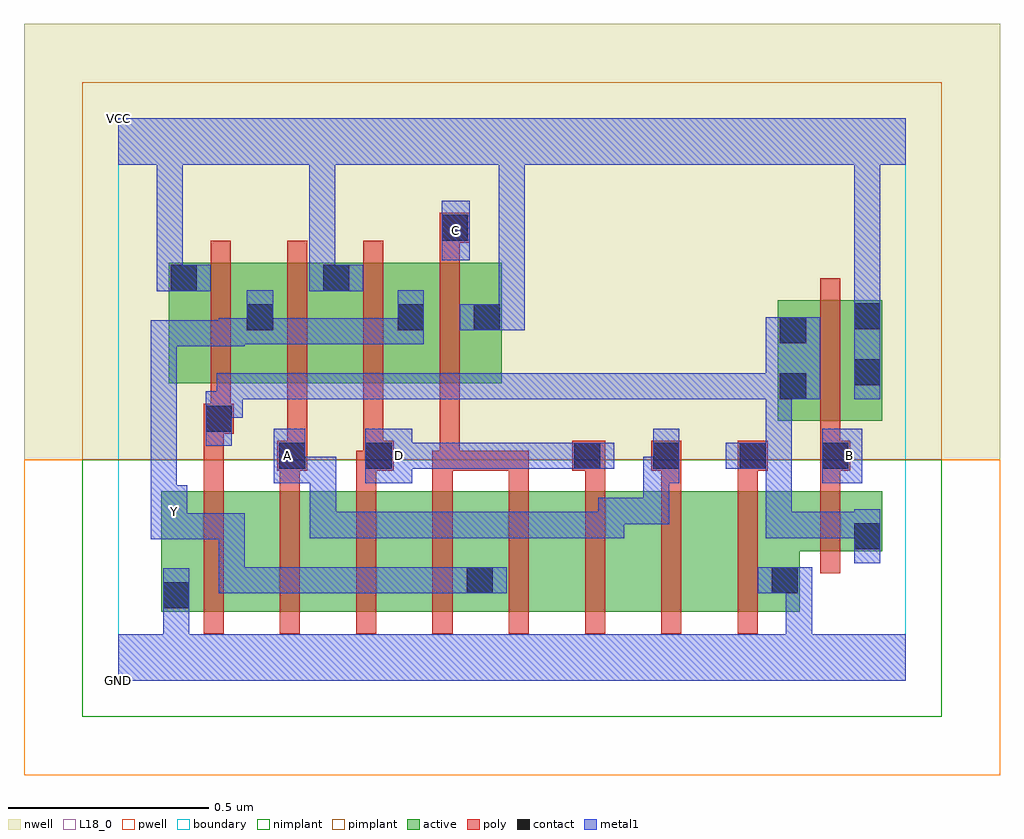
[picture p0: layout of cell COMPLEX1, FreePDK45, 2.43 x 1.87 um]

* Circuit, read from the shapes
.subckt COMPLEX1 A B C D GND VCC Y
M1 n1 n2 GND VSUBS nfet w=0.3u l=0.05u
M2 n3 A n1 VSUBS nfet w=0.3u l=0.05u
M3 n4 D n3 VSUBS nfet w=0.3u l=0.05u
M4 Y C n4 VSUBS nfet w=0.3u l=0.05u
M5 n5 C Y VSUBS nfet w=0.3u l=0.05u
M6 n6 D n5 VSUBS nfet w=0.3u l=0.05u
M7 n7 A n6 VSUBS nfet w=0.3u l=0.05u
M8 GND n2 n7 VSUBS nfet w=0.3u l=0.05u
M9 n2 B GND VSUBS nfet w=0.15u l=0.05u
M10 Y n2 VCC n8 pfet w=0.3u l=0.05u
M11 VCC A Y n8 pfet w=0.3u l=0.05u
M12 Y D VCC n8 pfet w=0.3u l=0.05u
M13 VCC C Y n8 pfet w=0.3u l=0.05u
M14 VCC B n2 n8 pfet w=0.3u l=0.05u
.ends

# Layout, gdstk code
import gdstk
lib = gdstk.Library(unit=1e-6, precision=1e-09)
def R(c, l, rs):  # rectangles x0, y0, x1, y1
    for r in rs: c.add(gdstk.rectangle(r[:2], r[2:], *l))
def A(c, l, x, y, w, h, nx, ny, dx, dy):  # array of equal rectangles
    R(c, l, [(x+i*dx, y+j*dy, x+i*dx+w, y+j*dy+h) for i in range(nx) for j in range(ny)])
active = (1, 0)
pwell = (2, 0)
nwell = (3, 0)
nimplant = (4, 0)
pimplant = (5, 0)
poly = (9, 0)
contact = (10, 0)
metal1 = (11, 0)
L18_0 = (18, 0)
boundary = (235, 0)

complex1 = lib.new_cell('COMPLEX1')
R(complex1, active, [(0.107,0.172,0.332,0.472), (0.107,0.172,0.182,0.472), (0.332,0.172,0.522,0.472), (0.522,0.172,0.712,0.472), (0.712,0.172,0.937,0.472), (0.862,0.172,1.092,0.472), (1.092,0.172,1.282,0.472), (1.282,0.172,1.472,0.472), (1.472,0.172,1.697,0.472), (1.622,0.172,1.697,0.322), (0.862,0.195,0.937,0.392), (1.622,0.322,1.902,0.472), (1.827,0.322,1.902,0.472), (1.642,0.647,1.717,0.947), (1.642,0.647,1.902,0.947), (1.827,0.647,1.902,0.947), (0.125,0.74,0.2,1.04), (0.125,0.74,0.39,1.04), (0.315,0.74,0.39,1.04), (0.315,0.74,0.58,1.04), (0.505,0.74,0.765,1.04), (0.69,0.74,0.955,1.04), (0.88,0.74,0.955,0.942), (0.69,0.782,0.765,0.942), (0.505,0.905,0.58,1.04)])
R(complex1, pwell, [(-0.235,-0.235,2.195,0.55)])
R(complex1, nwell, [(-0.235,0.55,2.195,1.635)])
R(complex1, nimplant, [(-0.09,-0.09,2.05,0.55)])
R(complex1, pimplant, [(-0.09,0.55,2.05,1.49)])
A(complex1, poly, 0.212, 0.117, 0.05, 0.41, 8, 1, 0.19, 0)
A(complex1, poly, 0.402, 0.477, 0.05, 0.095, 7, 1, 0.19, 0)
A(complex1, poly, 0.23, 0.685, 0.05, 0.41, 4, 1, 0.19, 0)
R(complex1, poly, [(1.747,0.267,1.797,0.527), (0.212,0.477,0.262,0.665), (1.747,0.477,1.797,0.572), (0.395,0.522,0.47,0.597), (0.592,0.522,0.66,0.572), (0.61,0.522,0.66,0.572), (0.61,0.522,0.685,0.597), (0.782,0.522,0.85,0.572), (0.8,0.522,0.85,0.572), (0.8,0.522,0.85,0.572), (0.8,0.522,1.022,0.572), (0.8,0.522,0.85,0.735), (0.972,0.522,1.022,0.572), (0.972,0.522,1.022,0.572), (0.972,0.522,1.022,0.572), (1.13,0.522,1.212,0.597), (1.162,0.522,1.212,0.572), (1.162,0.522,1.212,0.572), (1.327,0.522,1.402,0.597), (1.542,0.522,1.617,0.597), (1.747,0.522,1.822,0.597), (0.42,0.547,0.47,0.597), (0.42,0.547,0.47,0.597), (0.42,0.547,0.47,0.735), (0.61,0.547,0.66,0.735), (1.747,0.547,1.797,0.642), (1.747,0.547,1.797,0.597), (1.747,0.547,1.797,0.597), (1.747,0.592,1.797,1.002), (0.212,0.615,0.262,0.665), (0.212,0.615,0.262,0.665), (0.212,0.615,0.287,0.69), (0.23,0.64,0.28,0.735), (0.8,1.045,0.85,1.14), (0.8,1.09,0.875,1.165)])
R(complex1, contact, [(0.112,0.18,0.177,0.245), (0.867,0.217,0.932,0.282), (1.627,0.217,1.692,0.282), (1.832,0.327,1.897,0.392), (0.4,0.527,0.465,0.592), (0.615,0.527,0.68,0.592), (1.135,0.527,1.2,0.592), (1.332,0.527,1.397,0.592), (1.547,0.527,1.612,0.592), (1.752,0.527,1.817,0.592), (0.217,0.62,0.282,0.685), (1.647,0.7,1.712,0.765), (1.832,0.735,1.897,0.8), (1.647,0.84,1.712,0.905), (0.32,0.872,0.385,0.937), (0.695,0.872,0.76,0.937), (0.885,0.872,0.95,0.937), (1.832,0.875,1.897,0.94), (0.13,0.97,0.195,1.035), (0.51,0.97,0.575,1.035), (0.805,1.095,0.87,1.16)])
R(complex1, metal1, [(0,0,1.96,0.115), (0.112,0.05,0.177,0.21), (1.662,0.05,1.727,0.282), (0.112,0.145,0.177,0.28), (0.25,0.217,0.315,0.282), (0.25,0.217,0.522,0.282), (0.25,0.217,0.315,0.417), (0.457,0.217,0.522,0.282), (0.457,0.217,0.522,0.282), (0.457,0.217,0.522,0.282), (0.457,0.217,0.68,0.282), (0.615,0.217,0.68,0.282), (0.615,0.217,0.68,0.282), (0.615,0.217,0.68,0.282), (0.615,0.217,0.89,0.282), (0.825,0.217,0.89,0.282), (0.825,0.217,0.897,0.282), (0.832,0.217,0.967,0.282), (1.592,0.217,1.727,0.282), (1.832,0.292,1.897,0.427), (0.08,0.352,0.172,0.487), (0.107,0.352,0.172,0.417), (0.107,0.352,0.172,0.417), (0.107,0.352,0.315,0.417), (0.25,0.352,0.315,0.417), (0.477,0.355,0.732,0.42), (0.477,0.355,0.542,0.557), (0.667,0.355,0.732,0.42), (0.667,0.355,0.732,0.42), (0.667,0.355,0.732,0.42), (0.667,0.355,0.89,0.42), (0.825,0.355,0.89,0.42), (0.825,0.355,0.89,0.42), (0.825,0.355,0.89,0.42), (0.825,0.355,1.027,0.42), (0.962,0.355,1.027,0.42), (0.962,0.355,1.027,0.42), (0.962,0.355,1.027,0.42), (0.962,0.355,1.26,0.42), (1.195,0.355,1.26,0.455), (1.612,0.355,1.677,0.42), (1.612,0.355,1.897,0.42), (1.612,0.355,1.677,0.592), (1.832,0.355,1.897,0.42), (1.832,0.355,1.897,0.42), (1.195,0.39,1.372,0.455), (1.307,0.39,1.372,0.557), (0.08,0.422,0.145,0.487), (0.08,0.422,0.145,0.487), (0.08,0.422,0.145,0.487), (0.08,0.422,0.145,0.487), (0.08,0.422,0.145,0.897), (0.387,0.492,0.465,0.627), (0.4,0.492,0.542,0.557), (0.615,0.492,0.732,0.627), (1.307,0.492,1.397,0.557), (1.332,0.492,1.397,0.627), (1.752,0.492,1.852,0.627), (0.667,0.527,0.732,0.592), (0.667,0.527,0.732,0.592), (0.667,0.527,0.87,0.592), (0.805,0.527,0.87,0.592), (0.805,0.527,0.87,0.592), (0.805,0.527,0.87,0.592), (0.805,0.527,1.027,0.592), (0.962,0.527,1.027,0.592), (0.962,0.527,1.027,0.592), (0.962,0.527,1.027,0.592), (0.962,0.527,1.165,0.592), (1.1,0.527,1.235,0.592), (1.512,0.527,1.647,0.592), (1.582,0.527,1.677,0.592), (1.612,0.527,1.677,0.592), (1.612,0.527,1.677,0.592), (1.612,0.527,1.677,0.592), (1.612,0.527,1.677,0.765), (0.217,0.585,0.282,0.72), (0.217,0.655,0.31,0.72), (0.245,0.655,0.31,0.72), (0.245,0.655,0.31,0.765), (0.245,0.7,0.31,0.765), (0.245,0.7,0.542,0.765), (0.477,0.7,0.542,0.765), (0.477,0.7,0.542,0.765), (0.477,0.7,0.542,0.765), (0.477,0.7,0.68,0.765), (0.615,0.7,0.68,0.765), (0.615,0.7,0.68,0.765), (0.615,0.7,0.68,0.765), (0.615,0.7,0.87,0.765), (0.805,0.7,0.87,0.765), (0.805,0.7,0.87,0.765), (0.805,0.7,0.87,0.765), (0.805,0.7,1.027,0.765), (0.962,0.7,1.027,0.765), (0.962,0.7,1.027,0.765), (0.962,0.7,1.027,0.765), (0.962,0.7,1.26,0.765), (1.195,0.7,1.26,0.765), (1.195,0.7,1.26,0.765), (1.195,0.7,1.26,0.765), (1.195,0.7,1.44,0.765), (1.375,0.7,1.44,0.765), (1.375,0.7,1.51,0.765), (1.445,0.7,1.51,0.765), (1.445,0.7,1.677,0.765), (1.612,0.7,1.677,0.765), (1.612,0.7,1.677,0.765), (1.612,0.7,1.747,0.905), (1.832,0.7,1.897,0.975), (0.08,0.832,0.145,0.897), (0.08,0.832,0.315,0.897), (0.25,0.832,0.315,0.902), (0.25,0.837,0.385,0.902), (0.32,0.837,0.385,0.972), (0.32,0.837,0.542,0.902), (0.477,0.837,0.542,0.902), (0.477,0.837,0.542,0.902), (0.477,0.837,0.542,0.902), (0.477,0.837,0.715,0.902), (0.65,0.837,0.715,0.902), (0.65,0.837,0.76,0.902), (0.695,0.837,0.76,0.972), (0.85,0.872,1.012,0.937), (0.947,0.872,1.012,1.35), (1.832,0.91,1.897,1.35), (1.832,0.91,1.897,0.975), (1.832,0.91,1.897,0.975), (0.095,0.97,0.16,1.035), (0.095,0.97,0.16,1.035), (0.095,0.97,0.23,1.035), (0.095,0.97,0.16,1.35), (0.475,0.97,0.61,1.035), (0.475,0.97,0.54,1.35), (0.805,1.047,0.875,1.195), (0,1.285,1.96,1.4), (0.095,1.285,0.16,1.35), (0.095,1.285,0.16,1.35), (0.475,1.285,0.54,1.35), (0.475,1.285,0.54,1.35), (0.475,1.285,0.54,1.35), (0.475,1.285,0.54,1.35), (0.947,1.285,1.012,1.35), (0.947,1.285,1.012,1.35), (0.947,1.285,1.012,1.35), (0.947,1.285,1.012,1.35), (1.832,1.285,1.897,1.35), (1.832,1.285,1.897,1.35)])
R(complex1, L18_0, [(0,0,1.96,0.115), (0.112,0.05,0.177,0.21), (1.662,0.05,1.727,0.282), (0.112,0.145,0.177,0.28), (0.25,0.217,0.315,0.282), (0.25,0.217,0.315,0.417), (0.25,0.217,0.522,0.282), (0.457,0.217,0.522,0.282), (0.457,0.217,0.522,0.282), (0.457,0.217,0.522,0.282), (0.457,0.217,0.68,0.282), (0.615,0.217,0.68,0.282), (0.615,0.217,0.68,0.282), (0.615,0.217,0.68,0.282), (0.615,0.217,0.89,0.282), (0.825,0.217,0.89,0.282), (0.825,0.217,0.897,0.282), (0.832,0.217,0.967,0.282), (1.592,0.217,1.727,0.282), (0.08,0.352,0.172,0.487), (0.107,0.352,0.172,0.417), (0.107,0.352,0.172,0.417), (0.107,0.352,0.315,0.417), (0.25,0.352,0.315,0.417), (0.477,0.355,0.542,0.557), (0.477,0.355,0.732,0.42), (0.667,0.355,0.732,0.42), (0.667,0.355,0.732,0.42), (0.667,0.355,0.732,0.42), (0.667,0.355,0.89,0.42), (0.825,0.355,0.89,0.42), (0.825,0.355,0.89,0.42), (0.825,0.355,0.89,0.42), (0.825,0.355,1.027,0.42), (0.962,0.355,1.027,0.42), (0.962,0.355,1.027,0.42), (0.962,0.355,1.027,0.42), (0.962,0.355,1.26,0.42), (1.195,0.355,1.26,0.455), (0.107,0.387,0.172,0.452), (1.195,0.39,1.372,0.455), (1.307,0.39,1.372,0.557), (0.08,0.422,0.145,0.487), (0.08,0.422,0.145,0.487), (0.08,0.422,0.145,0.487), (0.08,0.422,0.145,0.487), (0.08,0.422,0.145,0.897), (0.387,0.492,0.465,0.627), (0.4,0.492,0.542,0.557), (0.615,0.492,0.732,0.627), (1.307,0.492,1.397,0.557), (1.332,0.492,1.397,0.627), (1.752,0.492,1.852,0.627), (0.387,0.527,0.452,0.592), (0.667,0.527,0.732,0.592), (0.667,0.527,0.732,0.592), (0.667,0.527,0.732,0.592), (0.667,0.527,0.87,0.592), (0.805,0.527,0.87,0.592), (0.805,0.527,0.87,0.592), (0.805,0.527,0.87,0.592), (0.805,0.527,1.027,0.592), (0.962,0.527,1.027,0.592), (0.962,0.527,1.027,0.592), (0.962,0.527,1.027,0.592), (0.962,0.527,1.165,0.592), (1.1,0.527,1.235,0.592), (1.787,0.527,1.852,0.592), (1.832,0.7,1.897,0.975), (0.08,0.832,0.145,0.897), (0.08,0.832,0.315,0.897), (0.25,0.832,0.315,0.902), (0.25,0.837,0.385,0.902), (0.32,0.837,0.385,0.972), (0.32,0.837,0.542,0.902), (0.477,0.837,0.542,0.902), (0.477,0.837,0.542,0.902), (0.477,0.837,0.542,0.902), (0.477,0.837,0.715,0.902), (0.65,0.837,0.715,0.902), (0.65,0.837,0.76,0.902), (0.695,0.837,0.76,0.972), (0.85,0.872,1.012,0.937), (0.947,0.872,1.012,1.35), (1.832,0.91,1.897,0.975), (1.832,0.91,1.897,0.975), (1.832,0.91,1.897,1.35), (0.095,0.97,0.16,1.035), (0.095,0.97,0.16,1.035), (0.095,0.97,0.23,1.035), (0.095,0.97,0.16,1.35), (0.475,0.97,0.61,1.035), (0.475,0.97,0.54,1.35), (0.805,1.047,0.875,1.195), (0.807,1.087,0.872,1.152), (0,1.285,1.96,1.4), (0.095,1.285,0.16,1.35), (0.095,1.285,0.16,1.35), (0.475,1.285,0.54,1.35), (0.475,1.285,0.54,1.35), (0.475,1.285,0.54,1.35), (0.475,1.285,0.54,1.35), (0.947,1.285,1.012,1.35), (0.947,1.285,1.012,1.35), (0.947,1.285,1.012,1.35), (0.947,1.285,1.012,1.35), (1.832,1.285,1.897,1.35), (1.832,1.285,1.897,1.35)])
R(complex1, boundary, [(0,0,1.96,1.4)])
complex1.add(gdstk.Label('A', (0.42,0.56), layer=11, texttype=0))
complex1.add(gdstk.Label('B', (1.82,0.56), layer=11, texttype=0))
complex1.add(gdstk.Label('C', (0.84,1.12), layer=11, texttype=0))
complex1.add(gdstk.Label('D', (0.7,0.56), layer=11, texttype=0))
complex1.add(gdstk.Label('Y', (0.14,0.42), layer=11, texttype=0))
complex1.add(gdstk.Label('VCC', (0,1.4), layer=11, texttype=0))
complex1.add(gdstk.Label('GND', (0,0), layer=11, texttype=0))

lib.write_gds('COMPLEX1.gds')
